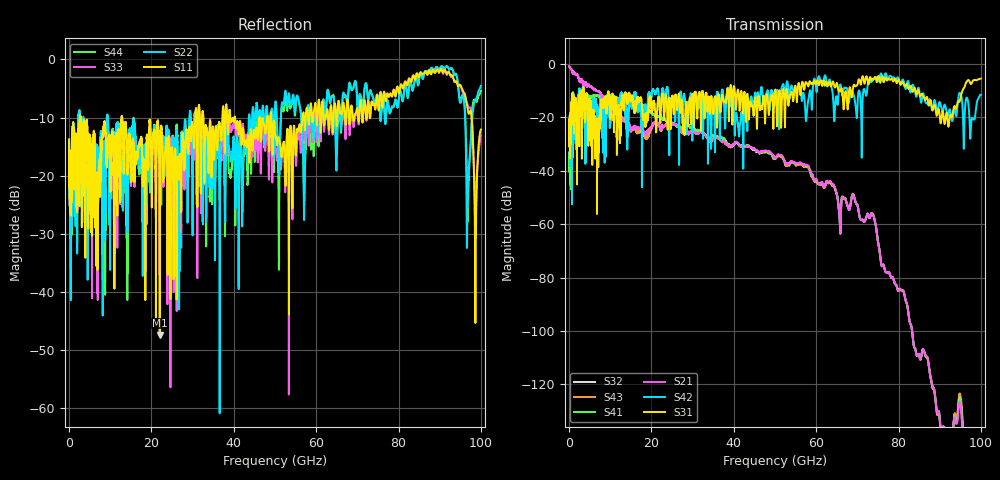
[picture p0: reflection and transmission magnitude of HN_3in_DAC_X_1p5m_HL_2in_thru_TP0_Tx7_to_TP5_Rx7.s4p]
# GHz S RI R 45
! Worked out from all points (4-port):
!   4000 points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, 25 MHz to 100 GHz, reference 45 ohm
!   strongest paths, dB at 25 MHz, 25.02 GHz, 50.02 GHz, 75.03 GHz, 100 GHz:
!     S31: -20.9, -12.1, -9.7, -4.9, -5.5
!     S42: -20.8, -16.2, -15.1, -5.7, -11.5
!     S21: -0.9, -22.5, -35.2, -66.6, -186.0
!     S41: -33.2, -21.9, -35.3, -66.6, -195.6
!     S43: -0.9, -22.7, -35.5, -66.7, -190.0
!     S32: -33.2, -22.2, -35.3, -66.7, -181.1
!   lowest |S11| = -47.4 dB at 22.02 GHz (marker M1), VSWR 1.01, Z = 44.6 - j0.083 ohm
!   |S11| at or under -10 dB: 2.777 GHz to 12.8 GHz (10.02 GHz wide, 129 % of centre); 12.93 GHz to 30.63 GHz (17.7 GHz wide, 81.3 % of centre); 49.12 GHz to 56.71 GHz (7.584 GHz wide, 14.3 % of centre)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
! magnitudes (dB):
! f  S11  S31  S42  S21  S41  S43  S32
! 25 MHz  -13.7  -20.9  -20.8  -0.9  -33.2  -0.9  -33.2
! 4.175 GHz  -11.2  -11.7  -14.3  -7.7  -14.0  -7.7  -14.1
! 22.02 GHz  -47.4  -17.1  -16.9  -23.3  -19.2  -23.8  -19.2
! 57.8 GHz  -8.4  -7.3  -17.2  -37.8  -38.0  -38.3  -38.1
! 78.55 GHz  -6.0  -6.1  -5.1  -79.9  -79.9  -79.8  -79.8
! 96.9 GHz  -9.0  -6.0  -14.2  -149.9  -165.1  -165.0  -148.7
! 100 GHz  -12.1  -5.5  -11.5  -186.0  -195.6  -190.0  -181.1
